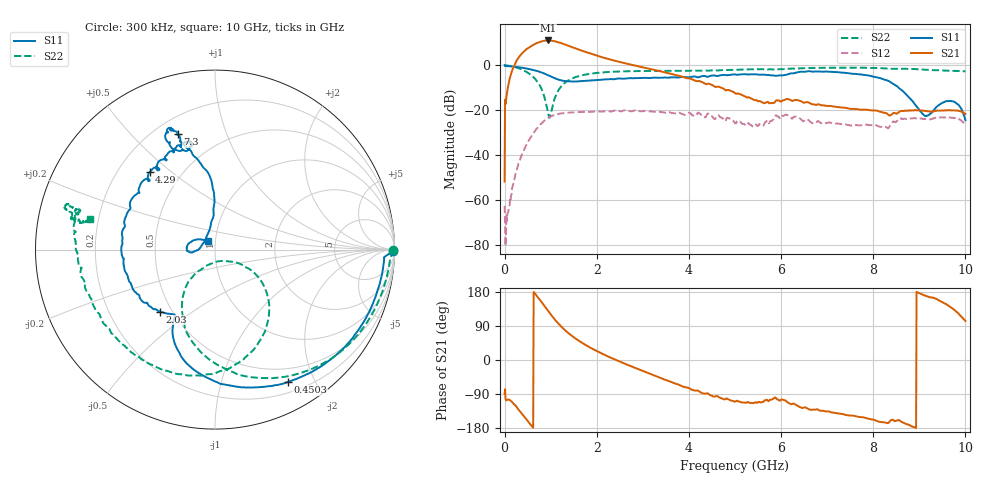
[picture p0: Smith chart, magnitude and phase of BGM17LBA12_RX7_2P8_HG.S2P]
!Agilent Technologies,E5071C,MY46316587,B.13.01
!Date: Fri Dec 08 11:16:12 2017
!Data & Calibration Information:
!Freq	S11:SOLT2(ON)	S21:SOLT2(ON)	S12:SOLT2(ON)	S22:SOLT2(ON)
!PortZ  Port1:50+j0  Port2:50+j0
!Above PortZ is port z conversion or system Z0 setting when saving the data.
!When reading, reference impedance value at option line is always used.
# Hz S dB R 50
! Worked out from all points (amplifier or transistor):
!   1001 points, 300 kHz to 10 GHz, reference 50 ohm
!   highest |S21| = 10.9 dB at 940.3 MHz (marker M1)
!   |S21| within 3 dB of that: 539.5 MHz to 1.469 GHz (929.2 MHz wide, 92.5 % of centre)
!   unconditionally stable (mu >= 1): start of sweep to end of sweep
!   at 1.66 GHz: K = 1.54, MAG = 9.4 dB, |S12| = -20.9 dB
!   at 5 GHz: K = 10.41, MAG = -6.5 dB, |S12| = -25.9 dB
!   at 10 GHz: K = 62.34, MAG = -18.6 dB, |S12| = -26.5 dB
!   lowest NFmin = 1.16 dB at 800 MHz
!   S11 on the Smith chart (normalised r, x): 300 kHz: open; 450.3 MHz: 0.32, -1.64; 2.03 GHz: 0.43, -0.38; 4.29 GHz: 0.33, +0.42; 7.3 GHz: 0.29, +0.69; 10 GHz: 0.92, +0.09
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300000  -0.05 -0.4  -51.80 -89.3  -62.56 43.2  -0.06 -0.1
6.02982e7  -0.54 -9.1  -11.32 -105.1  -65.96 96.4  -0.30 -11.4
1.00297e8  -0.59 -14.7  -7.13 -104.9  -63.22 138.4  -0.41 -18.5
2.902913e8  -0.97 -41.0  2.88 -129.0  -44.79 152.1  -1.36 -51.2
4.502865e8  -1.50 -61.3  6.44 -153.0  -36.48 142.0  -2.80 -76.7
7.202784e8  -2.81 -91.9  9.83 165.5  -27.79 116.0  -7.71 -115.9
8.302751e8  -3.58 -102.6  10.58 148.3  -25.34 103.5  -12.13 -128.9
9.402718e8  -4.58 -111.1  10.85 130.0  -23.60 89.6  -20.99 -111.8
1.100267e9  -6.06 -118.2  10.43 105.2  -22.11 70.7  -14.17 -29.8
1.300261e9  -7.14 -120.8  9.13 79.9  -21.37 52.2  -8.09 -41.8
1.67025e9  -7.24 -124.3  6.35 46.1  -20.89 29.7  -4.66 -66.6
2.030239e9  -6.69 -131.8  3.94 21.7  -20.65 14.3  -3.50 -83.9
2.600222e9  -6.09 -149.8  0.80 -9.0  -20.14 -5.0  -2.88 -104.2
3.3402e9  -5.74 176.3  -2.64 -45.2  -20.82 -29.2  -2.65 -128.0
4.290171e9  -4.95 130.1  -7.67 -87.6  -22.66 -60.0  -2.52 -161.1
5.00015e9  -4.21 109.1  -12.51 -109.8  -25.88 -72.2  -2.20 177.6
6.6701e9  -2.95 109.8  -17.43 -131.3  -25.76 -95.0  -1.35 162.8
7.300081e9  -3.40 108.0  -18.89 -142.0  -26.28 -100.5  -1.22 163.6
8.34005e9  -7.20 95.6  -22.33 -164.7  -27.82 -101.0  -1.69 165.5
9.120026e9  -22.64 137.4  -20.40 170.2  -23.98 -149.9  -2.13 168.0
9.68001e9  -16.10 174.8  -20.16 139.1  -23.39 168.0  -2.63 167.8
1e10  -24.51 129.5  -21.73 103.1  -26.49 118.0  -2.88 166.1
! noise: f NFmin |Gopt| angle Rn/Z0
6.5e+08  1.223  0.4373  66.42  0.2907
7e+08  1.189  0.4468  69.35  0.2719
7.5e+08  1.178  0.3947  70.52  0.2749
8e+08  1.158  0.4166  74.31  0.2436
8.5e+08  1.172  0.4069  76.31  0.2521
9e+08  1.178  0.4253  77.19  0.2283
9.5e+08  1.192  0.3789  87.07  0.2531
1e+09  1.229  0.3848  90.92  0.2029
